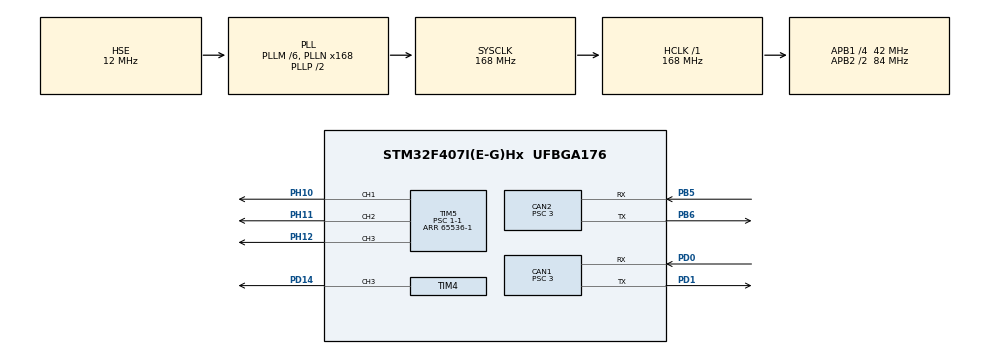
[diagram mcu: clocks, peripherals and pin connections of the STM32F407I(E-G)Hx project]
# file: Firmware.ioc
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CAN1.ABOM=ENABLE
CAN1.BS1=CAN_BS1_10TQ
CAN1.BS2=CAN_BS2_3TQ
CAN1.CalculateBaudRate=1000000
CAN1.CalculateTimeBit=1000
CAN1.CalculateTimeQuantum=71.42857142857143
CAN1.NART=ENABLE
CAN1.Prescaler=3
CAN2.ABOM=ENABLE
CAN2.BS1=CAN_BS1_10TQ
CAN2.BS2=CAN_BS2_3TQ
CAN2.CalculateBaudRate=1000000
CAN2.CalculateTimeBit=1000
CAN2.CalculateTimeQuantum=71.42857142857143
CAN2.NART=ENABLE
CAN2.Prescaler=3
Mcu.Family=STM32F4
Mcu.Name=STM32F407I(E-G)Hx
Mcu.Package=UFBGA176
NVIC.CAN1_RX0_IRQn=true\:5\:0\:true\:false\:true\:true\:true\:true
NVIC.CAN2_RX0_IRQn=true\:5\:0\:true\:false\:true\:true\:true\:true
NVIC.PriorityGroup=NVIC_PRIORITYGROUP_4
PA13.Mode=Serial_Wire
PA13.Signal=SYS_JTMS-SWDIO
PA14.Mode=Serial_Wire
PA14.Signal=SYS_JTCK-SWCLK
PB5.Mode=CAN_Activate
PB5.Signal=CAN2_RX
PB6.Mode=CAN_Activate
PB6.Signal=CAN2_TX
PD0.Mode=CAN_Activate
PD0.Signal=CAN1_RX
PD1.Mode=CAN_Activate
PD1.Signal=CAN1_TX
PD14.Signal=S_TIM4_CH3
PH0-OSC_IN.Mode=HSE-External-Oscillator
PH0-OSC_IN.Signal=RCC_OSC_IN
PH1-OSC_OUT.Mode=HSE-External-Oscillator
PH1-OSC_OUT.Signal=RCC_OSC_OUT
PH10.Signal=S_TIM5_CH1
PH11.Signal=S_TIM5_CH2
PH12.Signal=S_TIM5_CH3
ProjectManager.HeapSize=0x200
ProjectManager.StackSize=0x400
ProjectManager.TargetToolchain=CMake
RCC.48MHZClocksFreq_Value=84000000
RCC.AHBFreq_Value=168000000
RCC.APB1CLKDivider=RCC_HCLK_DIV4
RCC.APB1Freq_Value=42000000
RCC.APB1TimFreq_Value=84000000
RCC.APB2CLKDivider=RCC_HCLK_DIV2
RCC.APB2Freq_Value=84000000
RCC.APB2TimFreq_Value=168000000
RCC.CortexFreq_Value=168000000
RCC.HCLKFreq_Value=168000000
RCC.HSE_VALUE=12000000
RCC.HSI_VALUE=16000000
RCC.LSE_VALUE=32768
RCC.PLLM=6
RCC.PLLN=168
RCC.PLLSourceVirtual=RCC_PLLSOURCE_HSE
RCC.SYSCLKFreq_VALUE=168000000
RCC.SYSCLKSource=RCC_SYSCLKSOURCE_PLLCLK
RCC.VCOOutputFreq_Value=336000000
SH.S_TIM4_CH3.0=TIM4_CH3,PWM Generation3 CH3
SH.S_TIM5_CH1.0=TIM5_CH1,PWM Generation1 CH1
SH.S_TIM5_CH2.0=TIM5_CH2,PWM Generation2 CH2
SH.S_TIM5_CH3.0=TIM5_CH3,PWM Generation3 CH3
TIM4.Channel-PWM\ Generation3\ CH3=TIM_CHANNEL_3
TIM4.Period=21000-1
TIM5.Channel-PWM\ Generation1\ CH1=TIM_CHANNEL_1
TIM5.Channel-PWM\ Generation2\ CH2=TIM_CHANNEL_2
TIM5.Channel-PWM\ Generation3\ CH3=TIM_CHANNEL_3
TIM5.Period=65536-1
TIM5.Prescaler=1-1
board=custom

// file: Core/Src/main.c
/* USER CODE BEGIN Header */
/**
  ******************************************************************************
  * @file           : main.c
  * @brief          : Main program body
  ******************************************************************************
  * @attention
  *
  * Copyright (c) 2026 STMicroelectronics.
  * All rights reserved.
  *
  * This software is licensed under terms that can be found in the LICENSE file
  * in the root directory of this software component.
  * If no LICENSE file comes with this software, it is provided AS-IS.
  *
  ******************************************************************************
  */
/* USER CODE END Header */
#include "main.h"
#include "can.h"
#include "tim.h"
#include "gpio.h"

/* USER CODE BEGIN Includes */
#include "bsp_can.h"
#include "../../02_module/motor/DJImotor/dji_motor.h"
/* USER CODE END Includes */

void SystemClock_Config(void);

/* USER CODE BEGIN 0 */
/* ---- Temporary dji_motor test. Replace with the chassis application later. ---- */

/* Watch these in Ozone. Change test_output live to drive the motor. */
CAN_Status_e test_init_status;       /* result of BSP_CAN_Init */
DJIMotor_t *test_motor;              /* NULL means DJIMotor_Register failed */
int32_t test_output = 1000;          /* current command for the test motor; try negative values */
DJIMotor_Measure_t test_measure;     /* consistent snapshot copied every loop */
CAN_Status_e test_tx_status;         /* result of the latest DJIMotor_SendAll */
const CAN_Stats_t *test_can1_stats;
/* USER CODE END 0 */

int main(void)
{

  /* MCU Configuration--------------------------------------------------------*/

  /* Reset of all peripherals, Initializes the Flash interface and the Systick. */
  HAL_Init();

  /* USER CODE BEGIN Init */
  /* A debugger (OpenOCD reset-init) or bootloader may leave the PLL running as SYSCLK,
     which makes HAL_RCC_OscConfig() refuse to reconfigure it. Start from the reset state. */
  HAL_RCC_DeInit();
  /* USER CODE END Init */

  /* Configure the system clock */
  SystemClock_Config();

  /* Initialize all configured peripherals */
  MX_GPIO_Init();
  MX_TIM5_Init();
  MX_TIM4_Init();
  MX_CAN1_Init();
  MX_CAN2_Init();
  /* USER CODE BEGIN 2 */
  // HAL_TIM_Base_Init(&htim4);
  // HAL_TIM_PWM_Start(&htim4, TIM_CHANNEL_3);
  // HAL_TIM_PWM_Start(&htim5, TIM_CHANNEL_1);
  // HAL_TIM_PWM_Start(&htim5, TIM_CHANNEL_2);
  // HAL_TIM_PWM_Start(&htim5, TIM_CHANNEL_3);
  HAL_Delay(500);
  test_init_status = BSP_CAN_Init();

  /* The M3508 on CAN1 with ESC ID 2: feedback 0x202, control frame 0x200 slot 1. */
  const DJIMotor_Config_t motor_cfg = {
      .type = DJI_MOTOR_M3508,
      .bus = CAN_BUS_1,
      .esc_id = 2,
  };
  test_motor = DJIMotor_Register(&motor_cfg);
  test_can1_stats = BSP_CAN_GetStats(CAN_BUS_1);
  /* USER CODE END 2 */

  /* Infinite loop */
  /* USER CODE BEGIN WHILE */
  while (1)
  {
    if (test_motor != NULL)
    {
      DJIMotor_SetOutput(test_motor, test_output);
      DJIMotor_GetMeasure(test_motor, &test_measure);
    }
    test_tx_status = DJIMotor_SendAll();
    HAL_Delay(2);
    /* USER CODE END WHILE */

  }
}

void SystemClock_Config(void)
{
  RCC_OscInitTypeDef RCC_OscInitStruct = {0};
  RCC_ClkInitTypeDef RCC_ClkInitStruct = {0};

  /** Configure the main internal regulator output voltage
  */
  __HAL_RCC_PWR_CLK_ENABLE();
  __HAL_PWR_VOLTAGESCALING_CONFIG(PWR_REGULATOR_VOLTAGE_SCALE1);

  /** Initializes the RCC Oscillators according to the specified parameters
  * in the RCC_OscInitTypeDef structure.
  */
  RCC_OscInitStruct.OscillatorType = RCC_OSCILLATORTYPE_HSE;
  RCC_OscInitStruct.HSEState = RCC_HSE_ON;
  RCC_OscInitStruct.PLL.PLLState = RCC_PLL_ON;
  RCC_OscInitStruct.PLL.PLLSource = RCC_PLLSOURCE_HSE;
  RCC_OscInitStruct.PLL.PLLM = 6;
  RCC_OscInitStruct.PLL.PLLN = 168;
  RCC_OscInitStruct.PLL.PLLP = RCC_PLLP_DIV2;
  RCC_OscInitStruct.PLL.PLLQ = 4;
  if (HAL_RCC_OscConfig(&RCC_OscInitStruct) != HAL_OK)
  {
    Error_Handler();
  }

  /** Initializes the CPU, AHB and APB buses clocks
  */
  RCC_ClkInitStruct.ClockType = RCC_CLOCKTYPE_HCLK|RCC_CLOCKTYPE_SYSCLK
                              |RCC_CLOCKTYPE_PCLK1|RCC_CLOCKTYPE_PCLK2;
  RCC_ClkInitStruct.SYSCLKSource = RCC_SYSCLKSOURCE_PLLCLK;
  RCC_ClkInitStruct.AHBCLKDivider = RCC_SYSCLK_DIV1;
  RCC_ClkInitStruct.APB1CLKDivider = RCC_HCLK_DIV4;
  RCC_ClkInitStruct.APB2CLKDivider = RCC_HCLK_DIV2;

  if (HAL_RCC_ClockConfig(&RCC_ClkInitStruct, FLASH_LATENCY_5) != HAL_OK)
  {
    Error_Handler();
  }
}

void Error_Handler(void)
{
  __disable_irq();
  while (1)
  {
  }
}
